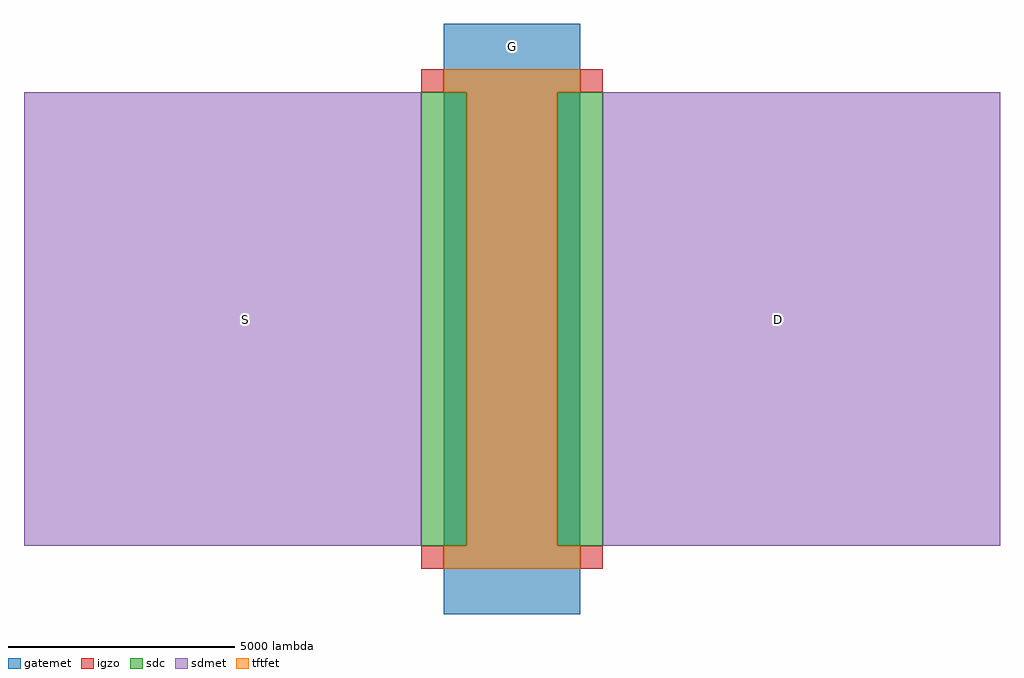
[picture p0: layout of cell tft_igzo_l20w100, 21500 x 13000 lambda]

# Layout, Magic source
magic
tech igzo_mmm_lab
<< igzo >>
rect -2000 5000 -1500 5500
rect 1500 5000 2000 5500
rect -2000 -5500 -1500 -5000
rect 1500 -5500 2000 -5000
<< tftfet >>
rect -1500 5000 1500 5500
rect -1000 -5000 1000 5000
rect -1500 -5500 1500 -5000
<< sdc >>
rect -2000 -5000 -1000 5000
rect 1000 -5000 2000 5000
<< sdmet >>
rect -10750 -5000 -2000 5000
rect 2000 -5000 10750 5000
<< gatemet >>
rect -1500 -6500 1500 6500
<< labels >>
rlabel sdmet s -6363 -488 -5387 488 4 S
port 3 nsew
rlabel sdmet s 5387 -488 6363 488 4 D
port 5 nsew
rlabel gatemet s -488 5512 488 6488 4 G
port 7 nsew
<< end >>
